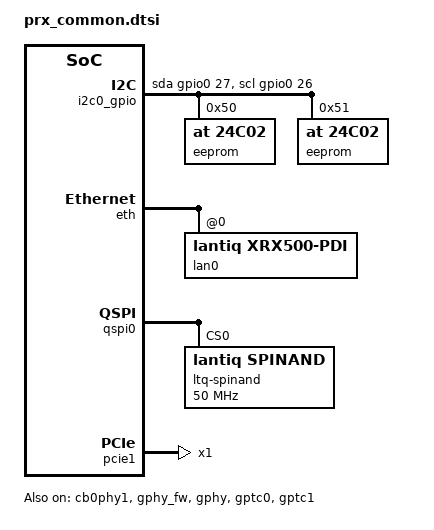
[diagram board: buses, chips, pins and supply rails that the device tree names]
#include <dt-bindings/gpio/gpio.h>
#include "../prx300.dtsi"

/ {
	compatible = "intel,prx321-sfu-qspi-pon", "intel,prx321-sfu", "intel,prx300", "intel,falconmx";

	aliases {
		i2c0 = &i2c0_gpio;
	};

	chosen {
		bootargs-append = " clk_ignore_unused";
		stdout-path = "serial0";
	};

	avm_netdev_map: avm_netdev_map {
		compatible = "avm,port_netdev";

		lan1 {
			netdev = "eth0";
		};
	};

	reserved-memory {
		/delete-node/ bootcore@3E000000;

		shm_rng_seed_mem: shm-rng-seed-mem@37fb0000 {
			compatible = "avm,shm-rng-seed-early";
			reg = <0x37fb0000 0x1000>;
		};

		cpunet_mempool: cpunet-mempool@37fc0000 {
			reg = <0x37fc0000 0x00040000>;
		};

		bootcore@38000000 {
			reg = <0x38000000 0x04000000>;
		};
	};

	shm-rng-seed@37fb0000 {
		compatible = "avm,shm-rng-seed";
		memory-region = <&shm_rng_seed_mem>;
	};

	ssx1_3@1E000000 {
		/delete-node/ mps@1107000;
		/delete-node/ mpsmbx@1200000;
		/delete-node/ mps2@1107400;

		cpunet@1107400 {
			compatible = "avm,cpunet";
			reg = <0x1107400 0x300>;
			mailbox-rx = <&mps2mbx 0x0 0x100>;
			mailbox-tx = <&mps2mbx 0x100 0x100>;
			mempool-rx = <&cpunet_mempool 0x0 0x20000>;
			mempool-tx = <&cpunet_mempool 0x20000 0x20000>;
			interrupt-parent = <&gic>;
			// MPS2_IR0
			interrupts = <GIC_SHARED 215 IRQ_TYPE_LEVEL_HIGH>;
		};

		eip123@0 {
			compatible = "verimatrix,eip123";
			reg = <0x0 0xfffff>;
			intel,syscon = <&sysconf>;
			interrupts =
				<GIC_SHARED 114 IRQ_TYPE_EDGE_RISING>,
				<GIC_SHARED 115 IRQ_TYPE_EDGE_RISING>,
				<GIC_SHARED 116 IRQ_TYPE_EDGE_RISING>,
				<GIC_SHARED 117 IRQ_TYPE_EDGE_RISING>;
		};
	};
};

&pinctrl {
	pinctrl_reserved: pinresv {
		intel,pins = <30>, <31>;
		intel,groups = "resv_pins";
		intel,function = "resv_pins";
		intel,mux = <EQBR_MUX_0>;
	};
};

/******************************************************************************
 ** Board configuration: Enable I2C for WAN transceiver EEPROM
 ******************************************************************************/
/ {
	i2c0_gpio: i2c {
		#address-cells = <1>;
		#size-cells = <0>;
		compatible = "i2c-gpio";
		gpios = <
			&gpio0 27 0 /* sda */
			&gpio0 26 0 /* scl */
			>;
		i2c-gpio,delay-us = <2>;	/* ~100 kHz */

		/* EEPROM of the optical WAN transceiver */
		eeprom@50 {
			compatible = "at,24c02";
			reg = <0x50>;
			avm,no-test;
		};
		eeprom@51 {
			compatible = "at,24c02";
			reg = <0x51>;
			avm,no-test;
		};
	};
};

/******************************************************************************
 ** Board configuration: Configure LAN/WAN interfaces
 ******************************************************************************/
&eth {
	status = "okay";

	lan0: interface@0 {
		status = "okay";
		compatible = "lantiq,xrx500-pdi";
		#address-cells = <1>;
		#size-cells = <0>;
		reg = <0>;
		intel,dp-dev-port = <4>;
		intel,dp-port-id = <4>;
		mac = <&gsw_mac2>;
		intel,lct-en = <0>;
		intel,extra-subif = <0>;
		avm,name = "eth0";
		avm,macname = "maca";

		ethernet@0 {
			compatible = "lantiq,xrx500-pdi-port";
			reg = <0>;
			phy-mode = "rgmii";
			phy-handle = <&gphy>;
		};
	};
};

/* This is needed to improve qspi stability on the board */
&pinctrl_qspi {
	intel,slew-rate = <1>;
	intel,drive-current = <3>;
};

&qspi0 {
	status = "okay";

	ltq-spinand@0 {
		status = "okay";
		#address-cells = <1>;
		#size-cells = <1>;
		compatible = "lantiq,spinand";
		reg = <0 1>;
		linux,mtd-name = "nand.0";
		spi-max-frequency = <50000000>;
		page-size = <2112>;
		block-size = <17>; // 2^17, 128KB
		spi-tx-bus-width = <1>;
		spi-rx-bus-width = <4>;

		/* Read-delay is needed for higher freq.
		 * 2 ref_clk is chosen as value that works well upto
		 * spi-freq 50MHz (with ref_clk 100MHz).
		 */
		read-delay = <2>;
		tshsl-ns = <200>;
		tsd2d-ns = <255>;
		tchsh-ns = <20>;
		tslch-ns = <20>;
	};
};

&ssc0 {
	status = "disabled";
};

&ssc1 {
	status = "disabled";
};

&pinctrl_spi0 {
	status = "disabled";
};

&pinctrl_spi0_cs {
	status = "disabled";
};

&pinctrl_spi1 {
	status = "disabled";
};

&asc1 {
	status = "disabled";
};

&pinctrl_uart1 {
	status = "disabled";
};

&cb0phy1 {
	status = "okay";
	intel,mode = <0>; /*0-pcie, 1-xpcs*/
};

&gphy_fw {
	status = "okay";
};

&gphy {
	status = "okay";
};

&ponmbox1 {
	status = "okay";
};

&pcie1 {
	intel,rst-interval = <200>;
	intel,inbound-swap = <1>;
	intel,outbound-swap = <0>;
	num-lanes = <1>;
	status = "ok";
};

&gptc0 {
	status = "ok";
};

&gptc1 {
	status = "ok";
};

&cpu3 {
        default-OS = "MPEFW";
};

&cqm {
	DQ3: cpu-port3 {
		intel,deq-port = <3 4>;
	};
};

&gsw_core {
       intel,gsw-globalpce-rules = <256>;
};
